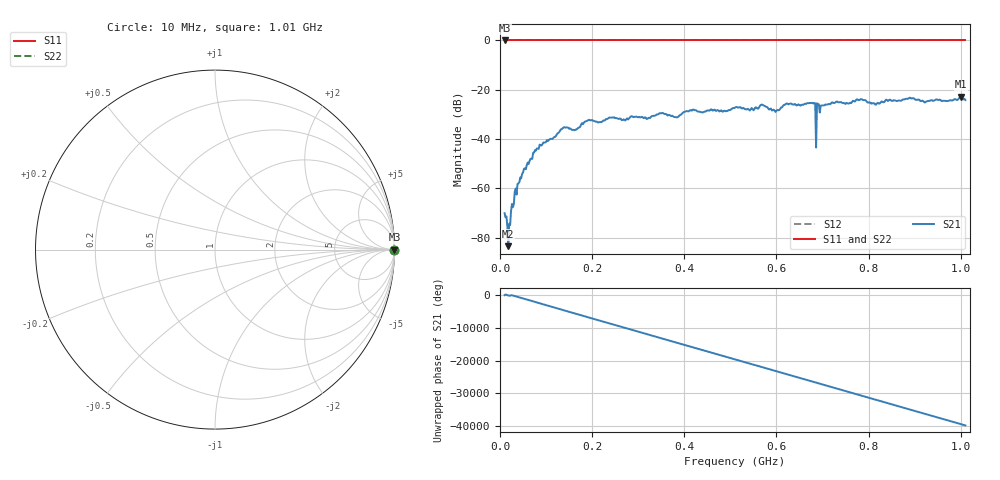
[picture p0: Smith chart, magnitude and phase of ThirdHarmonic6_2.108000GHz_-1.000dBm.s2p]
! 8/17/2025 1:12:57 AM
! C:\ANRITSUVNA\TEMP\TEMP.S2P
! CHANNEL.1
! TR.MEASUREMENT
! RAW.DATA
! RF.CORRECTION.OFF
! AVERAGING.OFF
! IF.BANDWIDTH: 5KHZ
! SWEEPTYPE:  FREQ.SWEEP(Linear)
! Reference Plane Port Info
! PORT:  PORT1  PORT2
! DISTANCE:  0  m  0  m
! TIME:  0  s  0  s
! PHASE.OFFSET:  0  deg.  0  deg.
! LOSS:  0  dB  0  dB
! REF.LOSS:  0  dB  0  dB
! REF.FREQ:  0  Hz  0  Hz
! Power Info
! POWER:  -20  dBm  -20  dBm
! EFF.POWER:  -20  dBm  -20  dBm
! SOURCE.ATTEN:  0  dB  0  dB
! TEST.ATTEN:  0  dB  0  dB
# GHZ S RI R 50.0
! FREQ.GHZ  S11RE  S11IM  S21RE  S21IM  S12RE  S12IM  S22RE  S22IM
!; PortSelection: Port_12
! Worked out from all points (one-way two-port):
!   501 points, 10 MHz to 1.01 GHz, reference 50 ohm
!   highest |S21| = -22.77 dB at 1 GHz (marker M1); lowest = -83.4 dB at 18 MHz (marker M2)
!   lowest |S11| = 0.0 dB at 10 MHz (marker M3)
!   |S11| at or under -10 dB: nowhere
!   |S22| runs from 0.0 to 0.0 dB; largest |S21 - S12| = 1.1
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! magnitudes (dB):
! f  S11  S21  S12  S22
! 10 MHz  0.0  -70.1  0.0  0.0
! 18 MHz  0.0  -83.4  0.0  0.0
! 36 MHz  0.0  -62.5  0.0  0.0
! 76 MHz  0.0  -44.5  0.0  0.0
! 136 MHz  0.0  -35.6  0.0  0.0
! 178 MHz  0.0  -33.5  0.0  0.0
! 344 MHz  0.0  -29.9  0.0  0.0
! 382 MHz  0.0  -31.1  0.0  0.0
! 416 MHz  0.0  -28.5  0.0  0.0
! 510 MHz  0.0  -27.2  0.0  0.0
! 570 MHz  0.0  -26.1  0.0  0.0
! 600 MHz  0.0  -28.5  0.0  0.0
! 620 MHz  0.0  -25.8  0.0  0.0
! 678 MHz  0.0  -25.4  0.0  0.0
! 680 MHz  0.0  -25.6  0.0  0.0
! 682 MHz  0.0  -25.3  0.0  0.0
! 690 MHz  0.0  -25.8  0.0  0.0
! 692 MHz  0.0  -25.9  0.0  0.0
! 724 MHz  0.0  -25.4  0.0  0.0
! 844 MHz  0.0  -24.3  0.0  0.0
! 1 GHz  0.0  -22.8  0.0  0.0
! 1.01 GHz  0.0  -24.1  0.0  0.0
